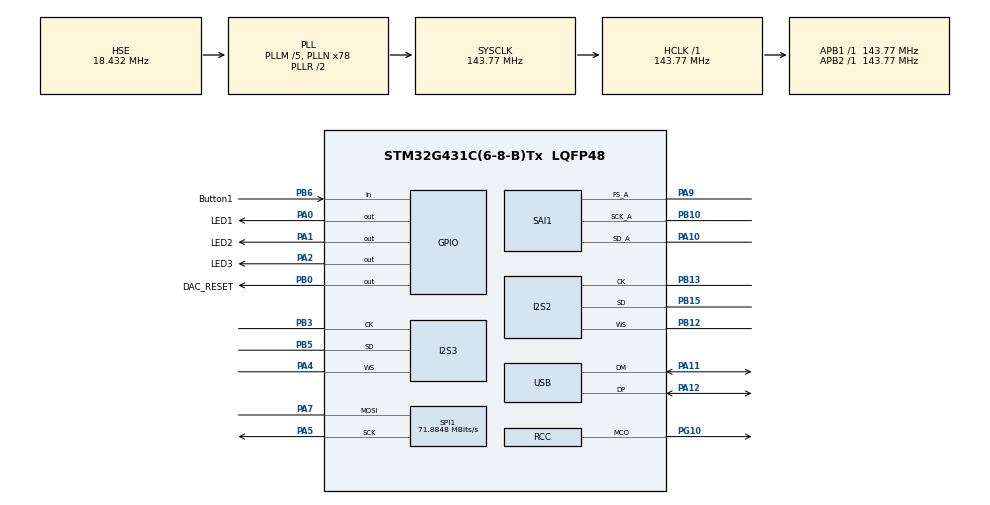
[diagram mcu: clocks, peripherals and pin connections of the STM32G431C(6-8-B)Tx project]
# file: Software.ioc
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Mcu.Family=STM32G4
Dma.SPI2_RX.0.Instance=DMA1_Channel1
USB_DEVICE.CLASS_NAME_FS=AUDIO
Dma.SAI1_A.1.SignalID=NONE
RCC.CortexFreq_Value=143769600
SPI1.VirtualType=VM_MASTER
PB10.Mode=SAI_A_Master
Dma.SAI1_A.1.SyncSignalID=NONE
Dma.SPI3_RX.2.Instance=DMA1_Channel3
PG10-NRST.Mode=Clock-out
PA0.GPIO_Label=LED1
SAI1.VirtualProtocol-SAI_A_BASIC=VM_BASIC_PROTOCOL
NVIC.USB_HP_IRQn=true\:0\:0\:false\:false\:true\:true\:true
PA11.Mode=Device
Dma.SPI3_RX.2.Direction=DMA_PERIPH_TO_MEMORY
PB0.GPIO_Label=DAC_RESET
PB6.GPIO_Label=Button1
Dma.SAI1_A.1.Mode=DMA_CIRCULAR
Dma.SPI2_RX.0.SyncEnable=DISABLE
RCC.I2SCLockSelection=RCC_I2SCLKSOURCE_PLL
PB13.Signal=I2S2_CK
PB15.Signal=I2S2_SD
Dma.SAI1_A.1.MemDataAlignment=DMA_MDATAALIGN_WORD
SAI1.Instance-SAI_A_Master=SAI$Index_Block_A
Dma.SPI3_RX.2.PeriphDataAlignment=DMA_PDATAALIGN_HALFWORD
RCC.SYSCLKSource=RCC_SYSCLKSOURCE_PLLCLK
ProjectManager.StackSize=0x400
Dma.SPI3_RX.2.SignalID=NONE
NVIC.DMA1_Channel3_IRQn=true\:0\:0\:false\:false\:true\:false\:true
Dma.SAI1_A.1.RequestNumber=1
PA12.Signal=USB_DP
PA4.Mode=Half_Duplex_Master
SPI1.Direction=SPI_DIRECTION_1LINE
Dma.SAI1_A.1.Instance=DMA1_Channel2
RCC.HCLKFreq_Value=143769600
Dma.SPI2_RX.0.SignalID=NONE
I2S3.Mode=I2S_MODE_MASTER_RX
RCC.APB2TimFreq_Value=143769600
PB6.Signal=GPIO_Input
SPI1.CalculateBaudRate=71.8848 MBits/s
RCC.AHBFreq_Value=143769600
SAI1.BasicDataSize-SAI_A_Master=SAI_PROTOCOL_DATASIZE_32BIT
Dma.SAI1_A.1.MemInc=DMA_MINC_ENABLE
RCC.HSE_VALUE=18432000
PB3.Mode=Half_Duplex_Master
Dma.SPI3_RX.2.EventEnable=ENABLE
RCC.ADC12Freq_Value=143769600
RCC.RCC_MCO1Source=RCC_MCO1SOURCE_HSE
Dma.SPI2_RX.0.SyncSignalID=NONE
I2S3.ErrorAudioFreq=-2.5 %
RCC.SAI1CLockSelection=RCC_SAI1CLKSOURCE_PLL
PA14.Mode=Serial_Wire
PB5.Mode=Half_Duplex_Master
VP_SYS_VS_DBSignals.Mode=DisableDeadBatterySignals
Dma.SPI2_RX.0.MemDataAlignment=DMA_MDATAALIGN_HALFWORD
Dma.SPI2_RX.0.SyncRequestNumber=1
I2S2.DataFormat=I2S_DATAFORMAT_32B
Dma.SPI2_RX.0.MemInc=DMA_MINC_ENABLE
PA0.Signal=GPIO_Output
Mcu.Package=LQFP48
PB12.Mode=Half_Duplex_Master
Dma.SAI1_A.1.Direction=DMA_MEMORY_TO_PERIPH
RCC.EnbaleCSS=true
PA2.GPIO_Label=LED3
I2S2.Mode=I2S_MODE_MASTER_RX
PA10.Signal=SAI1_SD_A
NVIC.USB_LP_IRQn=true\:0\:0\:false\:false\:true\:false\:true
Dma.SPI3_RX.2.PeriphInc=DMA_PINC_DISABLE
SAI1.VirtualMode-SAI_A_Master=VM_MASTER
Dma.SPI3_RX.2.Priority=DMA_PRIORITY_LOW
Dma.Request2=SPI3_RX
Dma.Request1=SAI1_A
RCC.APB1TimFreq_Value=143769600
Dma.SPI2_RX.0.Direction=DMA_PERIPH_TO_MEMORY
Dma.SAI1_A.1.SyncPolarity=HAL_DMAMUX_SYNC_NO_EVENT
PB13.Mode=Half_Duplex_Master
Dma.SAI1_A.1.SyncEnable=DISABLE
PF1-OSC_OUT.Mode=HSE-External-Oscillator
Dma.SPI3_RX.2.SyncRequestNumber=1
Dma.Request0=SPI2_RX
PF1-OSC_OUT.Signal=RCC_OSC_OUT
RCC.HSI48_VALUE=48000000
USB_DEVICE.USBD_DEBUG_LEVEL=3
PA5.Mode=Simplex_Bidirectional_Master
RCC.PLLSourceVirtual=RCC_PLLSOURCE_HSE
Dma.SPI2_RX.0.Polarity=HAL_DMAMUX_REQ_GEN_RISING
I2S2.AudioFreq=I2S_AUDIOFREQ_48K
I2S3.FullDuplexMode=I2S_FULLDUPLEXMODE_DISABLE
Dma.SPI3_RX.2.Polarity=HAL_DMAMUX_REQ_GEN_RISING
PA7.Mode=Simplex_Bidirectional_Master
I2S2.Instance=SPI$Index
PA10.Mode=SAI_A_Master
VP_SAI1_VP_$IpInstance_SAIA_SAI_BASIC.Mode=SAI_A_BASIC
I2S3.Standard=I2S_STANDARD_PHILIPS
USB_DEVICE.VirtualModeFS=Audio_FS
Dma.SPI2_RX.0.Mode=DMA_CIRCULAR
NVIC.DMAMUX_OVR_IRQn=true\:0\:0\:false\:false\:true\:false\:true
RCC.EXTERNAL_CLOCK_VALUE=12288000
SAI1.MckOutput-SAI_A_Master=SAI_MCK_OUTPUT_DISABLE
I2S3.DataFormat=I2S_DATAFORMAT_32B
Dma.SPI2_RX.0.EventEnable=ENABLE
RCC.PWR_Regulator_Voltage_Scale=PWR_REGULATOR_VOLTAGE_SCALE1
SAI1.RealAudioFreq-SAI_A_Master=46.8 KHz
Dma.SPI2_RX.0.RequestNumber=1
PA13.Signal=SYS_JTMS-SWDIO
Dma.SAI1_A.1.Polarity=HAL_DMAMUX_REQ_GEN_RISING
PA9.Mode=SAI_A_Master
PG10-NRST.GPIO_Speed=GPIO_SPEED_FREQ_VERY_HIGH
Dma.SPI2_RX.0.PeriphDataAlignment=DMA_PDATAALIGN_HALFWORD
PG10-NRST.Signal=RCC_MCO
NVIC.DMA1_Channel2_IRQn=true\:0\:0\:false\:false\:true\:false\:true
ProjectManager.TargetToolchain=SW4STM32
SAI1.ErrorAudioFreq-SAI_A_Master=-2.5 %
USB_DEVICE.USBD_AUDIO_FREQ=44800
Dma.SPI3_RX.2.RequestNumber=1
PA9.Signal=SAI1_FS_A
I2S2.VirtualMode=I2S_MODE_MASTER
I2S3.VirtualMode=I2S_MODE_MASTER
Dma.SPI3_RX.2.SyncSignalID=NONE
RCC.USBFreq_Value=47923200
SAI1.CompandingMode-SAI_A_Master=SAI_NOCOMPANDING
RCC.LSE_VALUE=32768
PA1.Signal=GPIO_Output
Dma.SPI2_RX.0.SyncPolarity=HAL_DMAMUX_SYNC_NO_EVENT
SAI1.AudioFrequency-SAI_A_Master=SAI_AUDIO_FREQUENCY_48K
PF0-OSC_IN.Mode=HSE-External-Oscillator
PB10.Signal=SAI1_SCK_A
PA5.Signal=SPI1_SCK
I2S3.AudioFreq=I2S_AUDIOFREQ_48K
board=custom
Dma.SPI3_RX.2.SyncEnable=DISABLE
RCC.VCOOutputFreq_Value=287539200
USB.low_power_enable=DISABLE
PB15.Mode=Half_Duplex_Master
RCC.APB2Freq_Value=143769600
SPI1.Mode=SPI_MODE_MASTER
PA1.GPIO_Label=LED2
Dma.SAI1_A.1.EventEnable=ENABLE
VP_USB_DEVICE_VS_USB_DEVICE_AUDIO_FS.Mode=AUDIO_FS
PA13.Mode=Serial_Wire
Dma.SPI2_RX.0.Priority=DMA_PRIORITY_LOW
Dma.SPI3_RX.2.Mode=DMA_CIRCULAR
Mcu.Name=STM32G431C(6-8-B)Tx
PA2.Signal=GPIO_Output
I2S2.FullDuplexMode=I2S_FULLDUPLEXMODE_DISABLE
PB3.Signal=I2S3_CK
PA4.Signal=I2S3_WS
RCC.SYSCLKFreq_VALUE=143769600
PB5.Signal=I2S3_SD
PA12.Mode=Device
I2S2.ErrorAudioFreq=-2.5 %
Dma.SPI2_RX.0.PeriphInc=DMA_PINC_DISABLE
Dma.SPI3_RX.2.MemInc=DMA_MINC_ENABLE
Dma.SAI1_A.1.SyncRequestNumber=1
PA11.Signal=USB_DM
PA14.Signal=SYS_JTCK-SWCLK
ProjectManager.HeapSize=0x1000
RCC.HSI_VALUE=16000000
RCC.PLLQ=RCC_PLLQ_DIV6
NVIC.PriorityGroup=NVIC_PRIORITYGROUP_4
I2S3.RealAudioFreq=46.8 KHz
RCC.PLLM=RCC_PLLM_DIV5
RCC.PLLN=78
Dma.SAI1_A.1.PeriphDataAlignment=DMA_PDATAALIGN_WORD
Dma.SAI1_A.1.Priority=DMA_PRIORITY_LOW
Dma.SAI1_A.1.PeriphInc=DMA_PINC_DISABLE
Dma.SPI3_RX.2.SyncPolarity=HAL_DMAMUX_SYNC_NO_EVENT
I2S3.Instance=SPI$Index
NVIC.DMA1_Channel1_IRQn=true\:0\:0\:false\:false\:true\:false\:true
PF0-OSC_IN.Signal=RCC_OSC_IN
Dma.SPI3_RX.2.MemDataAlignment=DMA_MDATAALIGN_HALFWORD
RCC.APB1Freq_Value=143769600
PB0.Signal=GPIO_Output
I2S2.RealAudioFreq=46.8 KHz
USB_DEVICE.VirtualMode=Audio
I2S2.Standard=I2S_STANDARD_PHILIPS
SAI1.BasicProtocol-SAI_A_Master=SAI_I2S_MSBJUSTIFIED
PB12.Signal=I2S2_WS
SAI1.InitProtocol-SAI_A_Master=Enable
PA7.Signal=SPI1_MOSI
USB.Sof_enable=DISABLE

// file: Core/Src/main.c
/* USER CODE BEGIN Header */
/**
  ******************************************************************************
  * @file           : main.c
  * @brief          : Main program body
  ******************************************************************************
  * @attention
  *
  * <h2><center>&copy; Copyright (c) 2022 STMicroelectronics.
  * All rights reserved.</center></h2>
  *
  * This software component is licensed by ST under Ultimate Liberty license
  * SLA0044, the "License"; You may not use this file except in compliance with
  * the License. You may obtain a copy of the License at:
  *                             www.st.com/SLA0044
  *
  ******************************************************************************
  */
/* USER CODE END Header */
#include "main.h"
#include "usb_device.h"

I2S_HandleTypeDef hi2s2;
I2S_HandleTypeDef hi2s3;
DMA_HandleTypeDef hdma_spi2_rx;
DMA_HandleTypeDef hdma_spi3_rx;

SAI_HandleTypeDef hsai_BlockA1;
DMA_HandleTypeDef hdma_sai1_a;

SPI_HandleTypeDef hspi1;

/* USER CODE BEGIN PV */

uint16_t rxBuf[8];
uint16_t rxBuf2[8];
uint8_t txBuf[16];

uint8_t mode = 1;
uint16_t counter = 0;

int U1Sample = 0;
int U2Sample = 0;
int U3Sample = 0;
int U4Sample = 0;

/* USER CODE END PV */

void SystemClock_Config(void);
static void MX_GPIO_Init(void);
static void MX_DMA_Init(void);
static void MX_I2S2_Init(void);
static void MX_I2S3_Init(void);
static void MX_SAI1_Init(void);
static void MX_SPI1_Init(void);

int main(void)
{

  /* MCU Configuration--------------------------------------------------------*/

  /* Reset of all peripherals, Initializes the Flash interface and the Systick. */
  HAL_Init();

  /* Configure the system clock */
  SystemClock_Config();

  /* Initialize all configured peripherals */
  MX_GPIO_Init();
  MX_DMA_Init();
  MX_I2S2_Init();
  MX_I2S3_Init();
  MX_SAI1_Init();
  MX_SPI1_Init();
  MX_USB_Device_Init();
  /* USER CODE BEGIN 2 */

  HAL_I2S_Receive_DMA(&hi2s2, rxBuf, 4);
  HAL_I2S_Receive_DMA(&hi2s3, rxBuf2, 4);
  HAL_SAI_Transmit_DMA(&hsai_BlockA1, txBuf, 4);

  HAL_Delay(100);

  HAL_GPIO_WritePin(LED1_GPIO_Port,LED1_Pin,(mode == 1));
  HAL_GPIO_WritePin(DAC_RESET_GPIO_Port,DAC_RESET_Pin,1);

  /* USER CODE END 2 */

  /* Infinite loop */
  /* USER CODE BEGIN WHILE */
  while (1)
  {

	  //HAL_GPIO_WritePin(LED3_GPIO_Port,LED3_Pin,1);

/*

     for(int i = 0; i<16; i++){
  		  if(i == mode-1){
  			  txBuf[i] = 0xff;
  		  }
  		  else{
  			  txBuf[i] = 0b00000000;
  		  }
  	  }

/*

	  for(int i = 0; i<16; i++){
		  if(i == mode-1){
			  txBuf[i] = rxBuf[0] & 0xff;
		  }
		  if(i == mode){
			  txBuf[i] = rxBuf[0] >>8;
		  }
		  else{
			  txBuf[i] = 0b00000000;
		  }

	  }

		*/

	  if(HAL_GPIO_ReadPin(Button1_GPIO_Port,Button1_Pin)==1){
		  if(mode == 3){
			  mode = 1;
		  }
		  else{
			  mode++;
		  }

		  HAL_GPIO_WritePin(LED1_GPIO_Port,LED1_Pin,(mode == 1));
		  HAL_GPIO_WritePin(LED2_GPIO_Port,LED2_Pin,(mode == 2));
		  HAL_GPIO_WritePin(LED3_GPIO_Port,LED3_Pin,(mode == 3));

		  while(HAL_GPIO_ReadPin(Button1_GPIO_Port,Button1_Pin)==1);
	  }

    /* USER CODE END WHILE */

  }
}

void SystemClock_Config(void)
{
  RCC_OscInitTypeDef RCC_OscInitStruct = {0};
  RCC_ClkInitTypeDef RCC_ClkInitStruct = {0};
  RCC_PeriphCLKInitTypeDef PeriphClkInit = {0};

  /** Configure the main internal regulator output voltage
  */
  HAL_PWREx_ControlVoltageScaling(PWR_REGULATOR_VOLTAGE_SCALE1);
  /** Initializes the RCC Oscillators according to the specified parameters
  * in the RCC_OscInitTypeDef structure.
  */
  RCC_OscInitStruct.OscillatorType = RCC_OSCILLATORTYPE_HSE;
  RCC_OscInitStruct.HSEState = RCC_HSE_ON;
  RCC_OscInitStruct.PLL.PLLState = RCC_PLL_ON;
  RCC_OscInitStruct.PLL.PLLSource = RCC_PLLSOURCE_HSE;
  RCC_OscInitStruct.PLL.PLLM = RCC_PLLM_DIV5;
  RCC_OscInitStruct.PLL.PLLN = 78;
  RCC_OscInitStruct.PLL.PLLP = RCC_PLLP_DIV2;
  RCC_OscInitStruct.PLL.PLLQ = RCC_PLLQ_DIV6;
  RCC_OscInitStruct.PLL.PLLR = RCC_PLLR_DIV2;
  if (HAL_RCC_OscConfig(&RCC_OscInitStruct) != HAL_OK)
  {
    Error_Handler();
  }
  /** Initializes the CPU, AHB and APB buses clocks
  */
  RCC_ClkInitStruct.ClockType = RCC_CLOCKTYPE_HCLK|RCC_CLOCKTYPE_SYSCLK
                              |RCC_CLOCKTYPE_PCLK1|RCC_CLOCKTYPE_PCLK2;
  RCC_ClkInitStruct.SYSCLKSource = RCC_SYSCLKSOURCE_PLLCLK;
  RCC_ClkInitStruct.AHBCLKDivider = RCC_SYSCLK_DIV1;
  RCC_ClkInitStruct.APB1CLKDivider = RCC_HCLK_DIV1;
  RCC_ClkInitStruct.APB2CLKDivider = RCC_HCLK_DIV1;

  if (HAL_RCC_ClockConfig(&RCC_ClkInitStruct, FLASH_LATENCY_4) != HAL_OK)
  {
    Error_Handler();
  }
  /** Initializes the peripherals clocks
  */
  PeriphClkInit.PeriphClockSelection = RCC_PERIPHCLK_SAI1|RCC_PERIPHCLK_I2S
                              |RCC_PERIPHCLK_USB;
  PeriphClkInit.Sai1ClockSelection = RCC_SAI1CLKSOURCE_PLL;
  PeriphClkInit.I2sClockSelection = RCC_I2SCLKSOURCE_PLL;
  PeriphClkInit.UsbClockSelection = RCC_USBCLKSOURCE_PLL;
  if (HAL_RCCEx_PeriphCLKConfig(&PeriphClkInit) != HAL_OK)
  {
    Error_Handler();
  }
  HAL_RCC_MCOConfig(RCC_MCO1, RCC_MCO1SOURCE_HSE, RCC_MCODIV_1);
  /** Enables the Clock Security System
  */
  HAL_RCC_EnableCSS();
}

static void MX_I2S2_Init(void)
{

  hi2s2.Instance = SPI2;
  hi2s2.Init.Mode = I2S_MODE_MASTER_RX;
  hi2s2.Init.Standard = I2S_STANDARD_PHILIPS;
  hi2s2.Init.DataFormat = I2S_DATAFORMAT_32B;
  hi2s2.Init.MCLKOutput = I2S_MCLKOUTPUT_DISABLE;
  hi2s2.Init.AudioFreq = I2S_AUDIOFREQ_48K;
  hi2s2.Init.CPOL = I2S_CPOL_LOW;
  if (HAL_I2S_Init(&hi2s2) != HAL_OK)
  {
    Error_Handler();
  }

}

static void MX_I2S3_Init(void)
{

  hi2s3.Instance = SPI3;
  hi2s3.Init.Mode = I2S_MODE_MASTER_RX;
  hi2s3.Init.Standard = I2S_STANDARD_PHILIPS;
  hi2s3.Init.DataFormat = I2S_DATAFORMAT_32B;
  hi2s3.Init.MCLKOutput = I2S_MCLKOUTPUT_DISABLE;
  hi2s3.Init.AudioFreq = I2S_AUDIOFREQ_48K;
  hi2s3.Init.CPOL = I2S_CPOL_LOW;
  if (HAL_I2S_Init(&hi2s3) != HAL_OK)
  {
    Error_Handler();
  }

}

static void MX_SAI1_Init(void)
{

  hsai_BlockA1.Instance = SAI1_Block_A;
  hsai_BlockA1.Init.AudioMode = SAI_MODEMASTER_TX;
  hsai_BlockA1.Init.Synchro = SAI_ASYNCHRONOUS;
  hsai_BlockA1.Init.OutputDrive = SAI_OUTPUTDRIVE_DISABLE;
  hsai_BlockA1.Init.NoDivider = SAI_MASTERDIVIDER_ENABLE;
  hsai_BlockA1.Init.MckOverSampling = SAI_MCK_OVERSAMPLING_DISABLE;
  hsai_BlockA1.Init.FIFOThreshold = SAI_FIFOTHRESHOLD_EMPTY;
  hsai_BlockA1.Init.AudioFrequency = SAI_AUDIO_FREQUENCY_48K;
  hsai_BlockA1.Init.SynchroExt = SAI_SYNCEXT_DISABLE;
  hsai_BlockA1.Init.MonoStereoMode = SAI_STEREOMODE;
  hsai_BlockA1.Init.CompandingMode = SAI_NOCOMPANDING;
  hsai_BlockA1.Init.TriState = SAI_OUTPUT_NOTRELEASED;
  if (HAL_SAI_InitProtocol(&hsai_BlockA1, SAI_I2S_MSBJUSTIFIED, SAI_PROTOCOL_DATASIZE_32BIT, 2) != HAL_OK)
  {
    Error_Handler();
  }

}

static void MX_SPI1_Init(void)
{

  /* SPI1 parameter configuration*/
  hspi1.Instance = SPI1;
  hspi1.Init.Mode = SPI_MODE_MASTER;
  hspi1.Init.Direction = SPI_DIRECTION_1LINE;
  hspi1.Init.DataSize = SPI_DATASIZE_4BIT;
  hspi1.Init.CLKPolarity = SPI_POLARITY_LOW;
  hspi1.Init.CLKPhase = SPI_PHASE_1EDGE;
  hspi1.Init.NSS = SPI_NSS_SOFT;
  hspi1.Init.BaudRatePrescaler = SPI_BAUDRATEPRESCALER_2;
  hspi1.Init.FirstBit = SPI_FIRSTBIT_MSB;
  hspi1.Init.TIMode = SPI_TIMODE_DISABLE;
  hspi1.Init.CRCCalculation = SPI_CRCCALCULATION_DISABLE;
  hspi1.Init.CRCPolynomial = 7;
  hspi1.Init.CRCLength = SPI_CRC_LENGTH_DATASIZE;
  hspi1.Init.NSSPMode = SPI_NSS_PULSE_ENABLE;
  if (HAL_SPI_Init(&hspi1) != HAL_OK)
  {
    Error_Handler();
  }

}

static void MX_DMA_Init(void)
{

  /* DMA controller clock enable */
  __HAL_RCC_DMAMUX1_CLK_ENABLE();
  __HAL_RCC_DMA1_CLK_ENABLE();

  /* DMA interrupt init */
  /* DMA1_Channel1_IRQn interrupt configuration */
  HAL_NVIC_SetPriority(DMA1_Channel1_IRQn, 0, 0);
  HAL_NVIC_EnableIRQ(DMA1_Channel1_IRQn);
  /* DMA1_Channel2_IRQn interrupt configuration */
  HAL_NVIC_SetPriority(DMA1_Channel2_IRQn, 0, 0);
  HAL_NVIC_EnableIRQ(DMA1_Channel2_IRQn);
  /* DMA1_Channel3_IRQn interrupt configuration */
  HAL_NVIC_SetPriority(DMA1_Channel3_IRQn, 0, 0);
  HAL_NVIC_EnableIRQ(DMA1_Channel3_IRQn);
  /* DMAMUX_OVR_IRQn interrupt configuration */
  HAL_NVIC_SetPriority(DMAMUX_OVR_IRQn, 0, 0);
  HAL_NVIC_EnableIRQ(DMAMUX_OVR_IRQn);

}

static void MX_GPIO_Init(void)
{
  GPIO_InitTypeDef GPIO_InitStruct = {0};

  /* GPIO Ports Clock Enable */
  __HAL_RCC_GPIOF_CLK_ENABLE();
  __HAL_RCC_GPIOG_CLK_ENABLE();
  __HAL_RCC_GPIOA_CLK_ENABLE();
  __HAL_RCC_GPIOB_CLK_ENABLE();

  /*Configure GPIO pin Output Level */
  HAL_GPIO_WritePin(GPIOA, LED1_Pin|LED2_Pin|LED3_Pin, GPIO_PIN_RESET);

  /*Configure GPIO pin Output Level */
  HAL_GPIO_WritePin(DAC_RESET_GPIO_Port, DAC_RESET_Pin, GPIO_PIN_RESET);

  /*Configure GPIO pin : PG10 */
  GPIO_InitStruct.Pin = GPIO_PIN_10;
  GPIO_InitStruct.Mode = GPIO_MODE_AF_PP;
  GPIO_InitStruct.Pull = GPIO_NOPULL;
  GPIO_InitStruct.Speed = GPIO_SPEED_FREQ_VERY_HIGH;
  GPIO_InitStruct.Alternate = GPIO_AF0_MCO;
  HAL_GPIO_Init(GPIOG, &GPIO_InitStruct);

  /*Configure GPIO pins : LED1_Pin LED2_Pin LED3_Pin */
  GPIO_InitStruct.Pin = LED1_Pin|LED2_Pin|LED3_Pin;
  GPIO_InitStruct.Mode = GPIO_MODE_OUTPUT_PP;
  GPIO_InitStruct.Pull = GPIO_NOPULL;
  GPIO_InitStruct.Speed = GPIO_SPEED_FREQ_LOW;
  HAL_GPIO_Init(GPIOA, &GPIO_InitStruct);

  /*Configure GPIO pin : DAC_RESET_Pin */
  GPIO_InitStruct.Pin = DAC_RESET_Pin;
  GPIO_InitStruct.Mode = GPIO_MODE_OUTPUT_PP;
  GPIO_InitStruct.Pull = GPIO_NOPULL;
  GPIO_InitStruct.Speed = GPIO_SPEED_FREQ_LOW;
  HAL_GPIO_Init(DAC_RESET_GPIO_Port, &GPIO_InitStruct);

  /*Configure GPIO pin : Button1_Pin */
  GPIO_InitStruct.Pin = Button1_Pin;
  GPIO_InitStruct.Mode = GPIO_MODE_INPUT;
  GPIO_InitStruct.Pull = GPIO_NOPULL;
  HAL_GPIO_Init(Button1_GPIO_Port, &GPIO_InitStruct);

}

/* USER CODE BEGIN 4 */

void HAL_I2S_RxCpltCallback(I2S_HandleTypeDef *hi2s){

/*

	int lSample = (int) (rxBuf2[0]<<16 | rxBuf2[1]);

*/
	if(mode == 1){

		txBuf[3]= (rxBuf2[0]>>8) & 0xFF;
		txBuf[2]=  rxBuf2[0] & 0xFF;
		txBuf[1]= (rxBuf2[1]>>8) & 0xFF;
		txBuf[0]=  rxBuf2[1] & 0xFF;

	}

	if(mode == 2){

		U3Sample = (int) (rxBuf2[0]<<16 | rxBuf2[1]);
		U4Sample = (int) (rxBuf2[2]<<16 | rxBuf2[3]);

		int TXSample =  (U3Sample>>1) + (U4Sample>>1);

		txBuf[3] = (TXSample >> 24)  & 0xFF ;
		txBuf[2] = (TXSample >> 16)  & 0xFF ;
		txBuf[1] = (TXSample >> 8 )  & 0xFF ;
		txBuf[0] = (TXSample )       & 0xFF ;

	}

	if(mode == 3){

		U1Sample = (int) ( rxBuf[0]<<16 | rxBuf[1]);
		U2Sample = (int) ( rxBuf[2]<<16 | rxBuf[3]);
		U3Sample = (int) (rxBuf2[0]<<16 | rxBuf2[1]);
		U4Sample = (int) (rxBuf2[2]<<16 | rxBuf2[3]);

		int TXSample = (U1Sample>>2) + (U2Sample>>2) + (U3Sample>>2) + (U4Sample>>2);

		txBuf[3] = (TXSample >> 24)  & 0xFF ;
		txBuf[2] = (TXSample >> 16)  & 0xFF ;
		txBuf[1] = (TXSample >> 8 )  & 0xFF ;
		txBuf[0] = (TXSample )       & 0xFF ;

	}

	/* deze wel nodig!!
	txBuf[7]= (rxBuf2[2]>>8) & 0xFF;
	txBuf[6]=  rxBuf2[2] & 0xFF;
	txBuf[5]= (rxBuf2[3]>>8) & 0xFF;
	txBuf[4]=  rxBuf2[3] & 0xFF;

	*/

	/*dit is voor de U1 MEMS

	if(mode == 3){

		txBuf[3]= (rxBuf[0]>>8) & 0xFF;
		txBuf[2]=  rxBuf[0] & 0xFF;
		txBuf[1]= (rxBuf[1]>>8) & 0xFF;
		txBuf[0]=  rxBuf[1] & 0xFF;

	}

 */

	  UNUSED(hi2s);
}

void HAL_I2S_RxHalfCpltCallback(I2S_HandleTypeDef *hi2s){

	if(mode == 1){
		txBuf[11]= (rxBuf2[4]>>8) & 0xFF;
		txBuf[10]=  rxBuf2[4] & 0xFF;
		txBuf[9]= (rxBuf2[5]>>8) & 0xFF;
		txBuf[8]=  rxBuf2[5] & 0xFF;
	}

	if (mode == 2){

		U3Sample = (int) (rxBuf2[4]<<16 | rxBuf2[5]);
		U4Sample = (int) (rxBuf2[6]<<16 | rxBuf2[7]);

		int TXSample =  (U3Sample>>1) + (U4Sample>>1);

		txBuf[11] = (TXSample >> 24)  & 0xFF ;
		txBuf[10] = (TXSample >> 16)  & 0xFF ;
		txBuf[9]  = (TXSample >> 8 )  & 0xFF ;
		txBuf[8]  = (TXSample )       & 0xFF ;

	}

	if(mode == 3){

		U1Sample = (int) ( rxBuf[4]<<16 | rxBuf[5]);
		U2Sample = (int) ( rxBuf[6]<<16 | rxBuf[7]);
		U3Sample = (int) (rxBuf2[4]<<16 | rxBuf2[5]);
		U4Sample = (int) (rxBuf2[6]<<16 | rxBuf2[7]);

		int TXSample = (U1Sample>>2) + (U2Sample>>2) + (U3Sample>>2) + (U4Sample>>2);

		txBuf[11] = (TXSample >> 24)  & 0xFF ;
		txBuf[10] = (TXSample >> 16)  & 0xFF ;
		txBuf[9]  = (TXSample >> 8 )  & 0xFF ;
		txBuf[8]  = (TXSample )       & 0xFF ;

	}

	/* deze wel nodig!!
	txBuf[15]= (rxBuf2[6]>>8) & 0xFF;
	txBuf[14]=  rxBuf2[6] & 0xFF;
	txBuf[13]= (rxBuf2[7]>>8) & 0xFF;
	txBuf[12]=  rxBuf2[7] & 0xFF;
    */

	/* dit is voor de U1 MEMS
	if(mode == 3){
		txBuf[11]= (rxBuf[4]>>8) & 0xFF;
		txBuf[10]=  rxBuf[4] & 0xFF;
		txBuf[9]= (rxBuf[5]>>8) & 0xFF;
		txBuf[8]=  rxBuf[5] & 0xFF;
	}
	*/

	UNUSED(hi2s);

}

/* USER CODE END 4 */

void Error_Handler(void)
{
}

/************************ (C) COPYRIGHT STMicroelectronics *****END OF FILE****/
